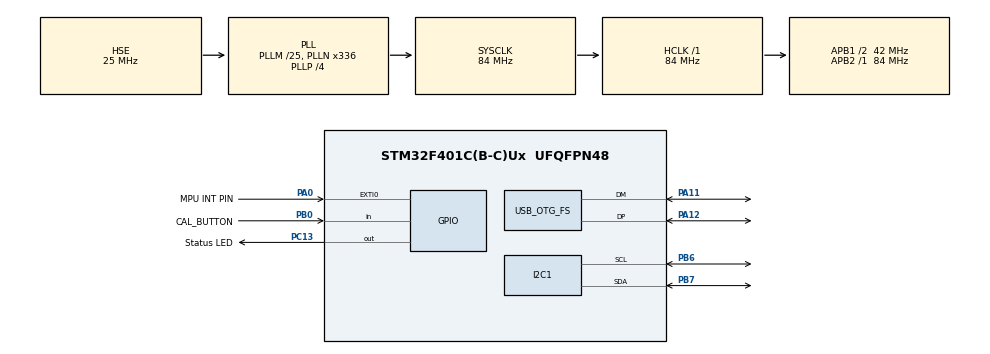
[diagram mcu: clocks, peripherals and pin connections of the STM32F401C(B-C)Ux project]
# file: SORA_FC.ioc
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Dma.I2C1_RX.0.Direction=DMA_PERIPH_TO_MEMORY
Dma.I2C1_RX.0.FIFOMode=DMA_FIFOMODE_DISABLE
Dma.I2C1_RX.0.Instance=DMA1_Stream0
Dma.I2C1_RX.0.MemDataAlignment=DMA_MDATAALIGN_BYTE
Dma.I2C1_RX.0.MemInc=DMA_MINC_ENABLE
Dma.I2C1_RX.0.Mode=DMA_NORMAL
Dma.I2C1_RX.0.PeriphDataAlignment=DMA_PDATAALIGN_BYTE
Dma.I2C1_RX.0.PeriphInc=DMA_PINC_DISABLE
Dma.I2C1_RX.0.Priority=DMA_PRIORITY_HIGH
Dma.I2C1_TX.1.Direction=DMA_MEMORY_TO_PERIPH
Dma.I2C1_TX.1.FIFOMode=DMA_FIFOMODE_DISABLE
Dma.I2C1_TX.1.Instance=DMA1_Stream6
Dma.I2C1_TX.1.MemDataAlignment=DMA_MDATAALIGN_BYTE
Dma.I2C1_TX.1.MemInc=DMA_MINC_ENABLE
Dma.I2C1_TX.1.Mode=DMA_NORMAL
Dma.I2C1_TX.1.PeriphDataAlignment=DMA_PDATAALIGN_BYTE
Dma.I2C1_TX.1.PeriphInc=DMA_PINC_DISABLE
Dma.I2C1_TX.1.Priority=DMA_PRIORITY_LOW
Dma.Request0=I2C1_RX
Dma.Request1=I2C1_TX
I2C1.I2C_Mode=I2C_Fast
Mcu.Family=STM32F4
Mcu.Name=STM32F401C(B-C)Ux
Mcu.Package=UFQFPN48
NVIC.DMA1_Stream0_IRQn=true\:0\:0\:false\:false\:true\:false\:true\:true
NVIC.DMA1_Stream6_IRQn=true\:0\:0\:false\:false\:true\:false\:true\:true
NVIC.EXTI0_IRQn=true\:0\:0\:false\:false\:true\:true\:true\:true
NVIC.I2C1_ER_IRQn=true\:0\:0\:false\:false\:true\:true\:true\:true
NVIC.I2C1_EV_IRQn=true\:0\:0\:false\:false\:true\:true\:true\:true
NVIC.OTG_FS_IRQn=true\:0\:0\:false\:false\:true\:false\:true\:true
NVIC.PriorityGroup=NVIC_PRIORITYGROUP_4
PA0-WKUP.GPIO_Label=MPU INT PIN
PA0-WKUP.Signal=GPXTI0
PA11.Mode=Device_Only
PA11.Signal=USB_OTG_FS_DM
PA12.Mode=Device_Only
PA12.Signal=USB_OTG_FS_DP
PB0.GPIO_Label=CAL_BUTTON
PB0.GPIO_PuPd=GPIO_PULLUP
PB0.Signal=GPIO_Input
PB6.Mode=I2C
PB6.Signal=I2C1_SCL
PB7.Mode=I2C
PB7.Signal=I2C1_SDA
PC13-ANTI_TAMP.GPIO_Label=Status LED
PC13-ANTI_TAMP.PinState=GPIO_PIN_SET
PC13-ANTI_TAMP.Signal=GPIO_Output
PH0\ -\ OSC_IN.Mode=HSE-External-Oscillator
PH0\ -\ OSC_IN.Signal=RCC_OSC_IN
PH1\ -\ OSC_OUT.Mode=HSE-External-Oscillator
PH1\ -\ OSC_OUT.Signal=RCC_OSC_OUT
ProjectManager.HeapSize=0x200
ProjectManager.StackSize=0x1000
ProjectManager.TargetToolchain=STM32CubeIDE
RCC.48MHZClocksFreq_Value=48000000
RCC.AHBFreq_Value=84000000
RCC.APB1CLKDivider=RCC_HCLK_DIV2
RCC.APB1Freq_Value=42000000
RCC.APB1TimFreq_Value=84000000
RCC.APB2Freq_Value=84000000
RCC.APB2TimFreq_Value=84000000
RCC.CortexFreq_Value=84000000
RCC.HCLKFreq_Value=84000000
RCC.HSE_VALUE=25000000
RCC.HSI_VALUE=16000000
RCC.LSE_VALUE=32768
RCC.PLLM=25
RCC.PLLN=336
RCC.PLLP=RCC_PLLP_DIV4
RCC.PLLQ=7
RCC.SYSCLKFreq_VALUE=84000000
RCC.SYSCLKSource=RCC_SYSCLKSOURCE_PLLCLK
RCC.VCOOutputFreq_Value=336000000
USB_DEVICE.CLASS_NAME_FS=CDC
USB_DEVICE.VirtualMode=Cdc
USB_DEVICE.VirtualModeFS=Cdc_FS
USB_OTG_FS.VirtualMode=Device_Only
VP_USB_DEVICE_VS_USB_DEVICE_CDC_FS.Mode=CDC_FS
board=custom

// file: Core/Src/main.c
/* USER CODE BEGIN Header */
/**
  ******************************************************************************
  * @file           : main.c
  * @brief          : Main program body
  ******************************************************************************
  * @attention
  *
  * Copyright (c) 2026 STMicroelectronics.
  * All rights reserved.
  *
  * This software is licensed under terms that can be found in the LICENSE file
  * in the root directory of this software component.
  * If no LICENSE file comes with this software, it is provided AS-IS.
  *
  ******************************************************************************
  */
/* USER CODE END Header */
#include "main.h"
#include "dma.h"
#include "i2c.h"
#include "usb_device.h"
#include "gpio.h"

/* USER CODE BEGIN Includes */
#include "mpu6050.h"
#include "imu_calibration.h"
#include "usb_telemetry.h"
#include "mekf.h"
#include "motor_mixer.h"
#include "config_store.h"
#include "usb_command.h"
#include <stdio.h>
#include <string.h>

/* USER CODE END Includes */

/* USER CODE BEGIN PTD */
typedef enum
{
    CONFIG_SOURCE_NONE = 0,      /* not calibrated yet                    */
    CONFIG_SOURCE_FLASH,         /* loaded from flash at boot             */
    CONFIG_SOURCE_CALIBRATED     /* calibrated in this session            */
} ConfigSource_t;

/* USER CODE END PTD */

/* USER CODE BEGIN PD */
#define CAL_BUTTON_PORT GPIOB
#define CAL_BUTTON_PIN  GPIO_PIN_0

/* Samples further apart than this are treated as a data gap (seconds). */
#define ATTITUDE_MAX_DT_S   (0.1f)

/* Compute the motor mixer from the attitude estimate (1) or hold it off (0).
 * The mixer output is only calculated and telemetered; nothing here drives
 * the motors. */
#define MIXER_ENABLED       (1)

/* Boot with stored data: average this much live accelerometer data to level
 * the attitude filter before it starts. */
#define BOOT_AVG_MIN_MS       (200U)
#define BOOT_AVG_MIN_SAMPLES  (20U)

/* USER CODE END PD */

/* USER CODE BEGIN PV */
MPU6050_Handle_t hmpu;

volatile uint8_t mpu_drdy_flag = 0;

MPU6050_RawData_t mpu_raw;
MPU6050_Data_t mpu_data;       // Raw parsed measurements
MPU6050_Data_t mpu_corrected;  // Calibrated measurements

IMU_Calibration_t imu_cal;
IMU_CalibrationResult_t imu_cal_result;

float gyro_corrected_dps[3];
float accel_corrected_g[3];

uint8_t imu_calibration_ready = 0;

static uint8_t button_previous = 1;
static uint8_t button_stable = 1;
static uint32_t button_last_change = 0;

static uint8_t next_face = 0;
static uint8_t selected_face = 0;

/* Attitude estimation + motor mixing */
MEKF_t ekf;
MotorMixer_t mixer;
Telemetry_Data_t telemetry;

/* Persistent configuration / calibration sequencing */
static ConfigSource_t config_source = CONFIG_SOURCE_NONE;
static float    mekf_bias_dps[3];            /* residual gyro bias (persisted) */
static uint8_t  save_after_mekf_cal = 0;     /* capture bias + save when MEKF done */
static uint8_t  mekf_cal_bias_only = 0;
static uint8_t  boot_avg_pending = 0;
static uint32_t boot_avg_count = 0;
static uint32_t boot_avg_start_ms = 0;
static float    boot_avg_sum[3];

static uint8_t  att_timebase_valid = 0;
static uint32_t att_last_cycle = 0;
static uint32_t att_last_tick = 0;

/*
 * Sensor frame -> body frame (FRD: x forward, y right, z down).
 * body = SENSOR_TO_BODY * sensor.
 * Default: sensor x forward, y left, z up (accelerometer reads +1 g on Z
 * when level), which is diag(1,-1,-1). CHANGE THIS to match how the board
 * is mounted in the airframe.
 */
static const float SENSOR_TO_BODY[3][3] =
{
    {  1.0f,  0.0f,  0.0f },
    {  0.0f, -1.0f,  0.0f },
    {  0.0f,  0.0f, -1.0f }
};

/* USER CODE END PV */

void SystemClock_Config(void);
/* USER CODE BEGIN PFP */
static void StatusLED_Update(void);
static void CalibrationButton_Update(void);
static void SensorToBody(const float s[3], float b[3]);
static void Attitude_StartTimebase(void);
static void Config_ApplyValues(const Config_Payload_t *p);
static bool Config_Save(void);
static bool Calibration_IsBusy(void);
static bool Calibration_StartFull(void);
static bool Calibration_StartBias(void);
static void Calibration_OnImuComplete(void);
static void Calibration_OnMekfComplete(void);
static void Attitude_BootAverage(const float accel_g[3]);
static bool Hook_Save(void);
static bool Hook_Load(void);
static bool Hook_Clear(void);
static void Hook_Reboot(void);
static void Hook_ParamChanged(const USB_Param_t *param);
static int  Hook_FormatStatus(char *buf, size_t size);
static void Attitude_Update(const float gyro_dps[3], const float accel_g[3]);
static void Telemetry_Fill(uint32_t now);
/* USER CODE END PFP */

/* USER CODE BEGIN 0 */
void HAL_I2C_MemRxCpltCallback(I2C_HandleTypeDef *hi2c) {
    if (hi2c == hmpu.hi2c) {
        MPU6050_RxCompleteCallback(&hmpu);
    }
}

void HAL_I2C_ErrorCallback(I2C_HandleTypeDef *hi2c) {
    if (hi2c == hmpu.hi2c) {
        MPU6050_ErrorCallback(&hmpu);
    }
}

void HAL_GPIO_EXTI_Callback(uint16_t GPIO_Pin) {
    if (GPIO_Pin == GPIO_PIN_0) {
        mpu_drdy_flag = 1;
    }
}
/* USER CODE END 0 */

int main(void)
{

  /* MCU Configuration--------------------------------------------------------*/

  /* Reset of all peripherals, Initializes the Flash interface and the Systick. */
  HAL_Init();

  /* Configure the system clock */
  SystemClock_Config();

  /* Initialize all configured peripherals */
  MX_GPIO_Init();
  MX_DMA_Init();
  MX_I2C1_Init();
  MX_USB_DEVICE_Init();
  /* USER CODE BEGIN 2 */
  if (MPU6050_Init(&hmpu, &hi2c1, MPU6050_ADDR_LOW) != HAL_OK) {
      Error_Handler();
  }
  IMU_Calibration_Init(
      &imu_cal,
      IMU_CAL_DEFAULT_GYRO_SAMPLES,
      IMU_CAL_DEFAULT_ACCEL_SAMPLES,
      IMU_CAL_GRAVITY_G
  );

  USB_Telemetry_Init();

  /* Free-running cycle counter used for the filter's dt. */
  CoreDebug->DEMCR |= CoreDebug_DEMCR_TRCENA_Msk;
  DWT->CYCCNT = 0U;
  DWT->CTRL |= DWT_CTRL_CYCCNTENA_Msk;

  /* Defaults from dash.py; tune on hardware. */
  MEKF_Init(&ekf, NULL);
  MotorMixer_Init(&mixer, NULL);

  /* Command interface (parameter table points at the live objects). */
  {
      const USB_Command_Bindings_t bindings =
      {
          .imu_result    = &imu_cal_result,
          .mekf_cfg      = &ekf.cfg,
          .mekf_bias_dps = mekf_bias_dps,
          .mixer_cfg     = &mixer.cfg,
          .hooks =
          {
              .start_full_calibration = Calibration_StartFull,
              .start_bias_calibration = Calibration_StartBias,
              .save                   = Hook_Save,
              .load                   = Hook_Load,
              .clear                  = Hook_Clear,
              .reboot                 = Hook_Reboot,
              .busy                   = Calibration_IsBusy,
              .param_changed          = Hook_ParamChanged,
              .format_status          = Hook_FormatStatus
          }
      };

      USB_Command_Init(&bindings);
  }

  /*
   * Stored calibration found -> use it (no six-face procedure).
   * Otherwise run the full calibration with the board stationary.
   */
  {
      Config_Payload_t stored;

      if (ConfigStore_Load(&stored) &&
          IMU_Calibration_LoadResult(&imu_cal, &stored.imu))
      {
          Config_ApplyValues(&stored);
          imu_calibration_ready = 1;
          config_source = CONFIG_SOURCE_FLASH;
          boot_avg_pending = 1;
          boot_avg_count = 0;
          USB_Command_Notify("CFG,LOADED,using stored calibration; send CAL FULL to recalibrate");
      }
      else
      {
          /* Start after sensor warm-up, with the board stationary. */
          IMU_Calibration_Start(&imu_cal);
          USB_Command_Notify("CFG,EMPTY,no stored calibration; starting full calibration");
      }
  }
  /* USER CODE END 2 */

  /* Infinite loop */
  /* USER CODE BEGIN WHILE */

  static uint32_t last_telemetry_ms = 0;

  while (1)
  {
      /* MPU6050 data-ready interrupt */
      if (mpu_drdy_flag && !hmpu.transfer_busy)
      {
          mpu_drdy_flag = 0;

          if (MPU6050_Read_DMA(&hmpu) != HAL_OK)
          {
              // Handle acquisition start failure.
          }
      }

      /* Process completed DMA transfer */
      if (hmpu.data_ready)
      {
          hmpu.data_ready = 0;

          MPU6050_ParseData(&hmpu, &mpu_raw, &mpu_data);

          /* Calibration phase */
          if (!imu_calibration_ready)
          {
              bool calibration_event = IMU_Calibration_Update(
                  &imu_cal,
                  mpu_data.gyro_x_dps,
                  mpu_data.gyro_y_dps,
                  mpu_data.gyro_z_dps,
                  mpu_data.accel_x_g,
                  mpu_data.accel_y_g,
                  mpu_data.accel_z_g
              );

              if (calibration_event &&
                  IMU_Calibration_GetStatus(&imu_cal) ==
                  IMU_CAL_STATUS_COMPLETE)
              {
                  if (IMU_Calibration_GetResult(
                          &imu_cal,
                          &imu_cal_result))
                  {
                      imu_calibration_ready = 1;
                      Calibration_OnImuComplete();
                  }
              }
          }

          /* Prepare corrected measurement object */
          if (imu_calibration_ready)
          {
              const float gyro_raw[3] =
              {
                  mpu_data.gyro_x_dps,
                  mpu_data.gyro_y_dps,
                  mpu_data.gyro_z_dps
              };

              const float accel_raw[3] =
              {
                  mpu_data.accel_x_g,
                  mpu_data.accel_y_g,
                  mpu_data.accel_z_g
              };

              IMU_Calibration_Apply(
                  &imu_cal_result,
                  gyro_raw,
                  accel_raw,
                  gyro_corrected_dps,
                  accel_corrected_g
              );

              // Copy the original measurement structure.
              // Temperature and other fields remain unchanged.
              mpu_corrected = mpu_data;

              // Replace sensor measurements with calibrated values.
              mpu_corrected.gyro_x_dps = gyro_corrected_dps[0];
              mpu_corrected.gyro_y_dps = gyro_corrected_dps[1];
              mpu_corrected.gyro_z_dps = gyro_corrected_dps[2];

              mpu_corrected.accel_x_g = accel_corrected_g[0];
              mpu_corrected.accel_y_g = accel_corrected_g[1];
              mpu_corrected.accel_z_g = accel_corrected_g[2];

              /* Attitude estimate and motor response for this sample */
              Attitude_Update(gyro_corrected_dps, accel_corrected_g);
          }

          /* Send corrected IMU data at configured telemetry rate */
          uint32_t now = HAL_GetTick();

          if (imu_calibration_ready &&
              (uint32_t)(now - last_telemetry_ms) >=
              TELEMETRY_INTERVAL_MS)
          {
              last_telemetry_ms = now;

              Telemetry_Fill(now);
              USB_Telemetry_Send(&telemetry);
          }
      }

      /* Button handling must run independently of DMA completion */
      CalibrationButton_Update();

      /* USB command interface (parse commands, send queued replies) */
      USB_Command_Process();

      /* Calibration status LED */
      StatusLED_Update();

      /* Calibration instructions over USB */
      IMU_CalibrationStage_t stage =
          IMU_Calibration_GetStage(&imu_cal);

      uint8_t face_index =
          (stage == IMU_CAL_STAGE_ACCEL_FACE)
          ? selected_face
          : next_face;

      USB_Telemetry_SendCalibrationStatus(
          IMU_Calibration_GetStatus(&imu_cal),
          stage,
          face_index
      );

    /* USER CODE END WHILE */

  }
}

void SystemClock_Config(void)
{
  RCC_OscInitTypeDef RCC_OscInitStruct = {0};
  RCC_ClkInitTypeDef RCC_ClkInitStruct = {0};

  /** Configure the main internal regulator output voltage
  */
  __HAL_RCC_PWR_CLK_ENABLE();
  __HAL_PWR_VOLTAGESCALING_CONFIG(PWR_REGULATOR_VOLTAGE_SCALE2);

  /** Initializes the RCC Oscillators according to the specified parameters
  * in the RCC_OscInitTypeDef structure.
  */
  RCC_OscInitStruct.OscillatorType = RCC_OSCILLATORTYPE_HSE;
  RCC_OscInitStruct.HSEState = RCC_HSE_ON;
  RCC_OscInitStruct.PLL.PLLState = RCC_PLL_ON;
  RCC_OscInitStruct.PLL.PLLSource = RCC_PLLSOURCE_HSE;
  RCC_OscInitStruct.PLL.PLLM = 25;
  RCC_OscInitStruct.PLL.PLLN = 336;
  RCC_OscInitStruct.PLL.PLLP = RCC_PLLP_DIV4;
  RCC_OscInitStruct.PLL.PLLQ = 7;
  if (HAL_RCC_OscConfig(&RCC_OscInitStruct) != HAL_OK)
  {
    Error_Handler();
  }

  /** Initializes the CPU, AHB and APB buses clocks
  */
  RCC_ClkInitStruct.ClockType = RCC_CLOCKTYPE_HCLK|RCC_CLOCKTYPE_SYSCLK
                              |RCC_CLOCKTYPE_PCLK1|RCC_CLOCKTYPE_PCLK2;
  RCC_ClkInitStruct.SYSCLKSource = RCC_SYSCLKSOURCE_PLLCLK;
  RCC_ClkInitStruct.AHBCLKDivider = RCC_SYSCLK_DIV1;
  RCC_ClkInitStruct.APB1CLKDivider = RCC_HCLK_DIV2;
  RCC_ClkInitStruct.APB2CLKDivider = RCC_HCLK_DIV1;

  if (HAL_RCC_ClockConfig(&RCC_ClkInitStruct, FLASH_LATENCY_2) != HAL_OK)
  {
    Error_Handler();
  }
}

/* USER CODE BEGIN 4 */

static void SensorToBody(const float s[3], float b[3])
{
    for (uint8_t i = 0U; i < 3U; i++)
    {
        b[i] = SENSOR_TO_BODY[i][0] * s[0] +
               SENSOR_TO_BODY[i][1] * s[1] +
               SENSOR_TO_BODY[i][2] * s[2];
    }
}

static void Attitude_StartTimebase(void)
{
    att_timebase_valid = 0;
}

/* ------------------------------------------------------------------------ */
/* Persistent configuration                                                 */
/* ------------------------------------------------------------------------ */

static void Config_Gather(Config_Payload_t *p)
{
    memset(p, 0, sizeof(*p));

    p->imu = imu_cal_result;
    p->mekf = ekf.cfg;
    p->mixer = mixer.cfg;
    memcpy(p->mekf_bias_dps, mekf_bias_dps, sizeof(mekf_bias_dps));
}

/* Push stored values into the live objects (no state machine changes). */
static void Config_ApplyValues(const Config_Payload_t *p)
{
    float bg[3];

    imu_cal_result = p->imu;
    MEKF_SetConfig(&ekf, &p->mekf);
    MotorMixer_SetConfig(&mixer, &p->mixer);
    memcpy(mekf_bias_dps, p->mekf_bias_dps, sizeof(mekf_bias_dps));

    for (uint8_t i = 0U; i < 3U; i++)
        bg[i] = mekf_bias_dps[i] * MEKF_DEG_TO_RAD;

    MEKF_SetGyroBias(&ekf, bg);
}

static bool Config_Save(void)
{
    Config_Payload_t p;
    ConfigStore_Info_t info;
    char msg[64];

    Config_Gather(&p);

    if (!ConfigStore_Save(&p))
    {
        USB_Command_Notify("ERR,SAVE_FAILED,flash write failed or storage unavailable");
        return false;
    }

    USB_Command_ClearDirty();
    ConfigStore_GetInfo(&info);
    snprintf(msg, sizeof(msg), "CFG,SAVED,seq=%lu", (unsigned long)info.sequence);
    USB_Command_Notify(msg);

    return true;
}

/* ------------------------------------------------------------------------ */
/* Calibration sequencing                                                   */
/*                                                                          */
/*  CAL FULL / first boot:  IMU six-face calibration (button)               */
/*                          -> MEKF stationary calibration (bias + level)   */
/*                          -> bias captured, everything saved to flash     */
/*  CAL BIAS:               MEKF bias-only calibration -> saved             */
/*  Boot with stored data:  average ~0.2 s of live accel to level the       */
/*                          filter, start with the stored bias              */
/* ------------------------------------------------------------------------ */

static bool Calibration_IsBusy(void)
{
    return (!imu_calibration_ready) ||
           (IMU_Calibration_GetStatus(&imu_cal) == IMU_CAL_STATUS_COLLECTING) ||
           save_after_mekf_cal ||
           boot_avg_pending;
}

static bool Calibration_StartFull(void)
{
    imu_calibration_ready = 0;
    boot_avg_pending = 0;
    save_after_mekf_cal = 0;
    mekf_cal_bias_only = 0;
    next_face = 0;
    selected_face = 0;
    config_source = CONFIG_SOURCE_NONE;

    IMU_Calibration_Init(&imu_cal,
                         IMU_CAL_DEFAULT_GYRO_SAMPLES,
                         IMU_CAL_DEFAULT_ACCEL_SAMPLES,
                         IMU_CAL_GRAVITY_G);
    IMU_Calibration_Start(&imu_cal);

    MotorMixer_Reset(&mixer);
    return true;
}

static bool Calibration_StartBias(void)
{
    if (!imu_calibration_ready || boot_avg_pending ||
        IMU_Calibration_GetStatus(&imu_cal) != IMU_CAL_STATUS_COMPLETE)
    {
        return false;
    }

    mekf_cal_bias_only = 1;
    save_after_mekf_cal = 1;

    MEKF_RecalibrateBias(&ekf);
    MotorMixer_Reset(&mixer);
    Attitude_StartTimebase();
    return true;
}

/* IMU six-face calibration finished: now level + bias-calibrate the filter. */
static void Calibration_OnImuComplete(void)
{
    config_source = CONFIG_SOURCE_CALIBRATED;
    mekf_cal_bias_only = 0;
    save_after_mekf_cal = 1;
    memset(mekf_bias_dps, 0, sizeof(mekf_bias_dps));

    MEKF_Reinitialize(&ekf);
    MotorMixer_Reset(&mixer);
    MotorMixer_SetYawHold(&mixer, 0.0f);
    Attitude_StartTimebase();

    USB_Command_Notify("CAL,MEKF,Place the board level and keep it still");
}

/* The filter finished its stationary calibration: capture bias, save. */
static void Calibration_OnMekfComplete(void)
{
    const bool with_motion =
        (MEKF_GetEvent(&ekf) == MEKF_EVENT_RUNNING_CALIBRATED_WITH_MOTION);

    save_after_mekf_cal = 0;

    if (mekf_cal_bias_only && with_motion)
    {
        float old_bg[3];

        for (uint8_t i = 0U; i < 3U; i++)
            old_bg[i] = mekf_bias_dps[i] * MEKF_DEG_TO_RAD;

        MEKF_SetGyroBias(&ekf, old_bg);
        USB_Command_Notify("ERR,CAL_BIAS,motion detected; previous bias kept. Retry with the board still");
        return;
    }

    float bg[3];

    MEKF_GetGyroBias(&ekf, bg);

    for (uint8_t i = 0U; i < 3U; i++)
        mekf_bias_dps[i] = bg[i] * MEKF_RAD_TO_DEG;

    if (with_motion)
        USB_Command_Notify("WARN,CAL,motion during the bias estimate; run CAL BIAS when stationary");

    (void)Config_Save();
}

/* Boot with stored data: level the filter from live accelerometer data. */
static void Attitude_BootAverage(const float accel_g[3])
{
    float accel_body[3];
    float mean[3];
    float bias_rads[3];

    SensorToBody(accel_g, accel_body);

    const uint32_t now = HAL_GetTick();

    if (boot_avg_count == 0U)
    {
        boot_avg_start_ms = now;
        memset(boot_avg_sum, 0, sizeof(boot_avg_sum));
    }

    for (uint8_t i = 0U; i < 3U; i++)
        boot_avg_sum[i] += accel_body[i];

    boot_avg_count++;

    if ((uint32_t)(now - boot_avg_start_ms) < BOOT_AVG_MIN_MS ||
        boot_avg_count < BOOT_AVG_MIN_SAMPLES)
    {
        return;
    }

    for (uint8_t i = 0U; i < 3U; i++)
    {
        mean[i] = boot_avg_sum[i] / (float)boot_avg_count;
        bias_rads[i] = mekf_bias_dps[i] * MEKF_DEG_TO_RAD;
    }

    boot_avg_pending = 0;

    if (!MEKF_StartWithKnownBias(&ekf, bias_rads, mean))
    {
        /* Fall back to the filter's own stationary calibration. */
        MEKF_Reinitialize(&ekf);
    }

    MotorMixer_Reset(&mixer);
    MotorMixer_SetYawHold(&mixer, 0.0f);
    Attitude_StartTimebase();
}

/* ------------------------------------------------------------------------ */
/* Command hooks                                                            */
/* ------------------------------------------------------------------------ */

static bool Hook_Save(void)
{
    return Config_Save();
}

static bool Hook_Load(void)
{
    Config_Payload_t p;

    if (!ConfigStore_Load(&p))
        return false;

    Config_ApplyValues(&p);
    return true;
}

static bool Hook_Clear(void)
{
    return ConfigStore_Erase();
}

static void Hook_Reboot(void)
{
    HAL_Delay(50U);   /* let the reply leave the USB FIFO */
    NVIC_SystemReset();
}

static void Hook_ParamChanged(const USB_Param_t *param)
{
    if (param->apply == USB_PARAM_APPLY_MEKF_BIAS)
    {
        float bg[3];

        for (uint8_t i = 0U; i < 3U; i++)
            bg[i] = mekf_bias_dps[i] * MEKF_DEG_TO_RAD;

        MEKF_SetGyroBias(&ekf, bg);
    }
}

static int Hook_FormatStatus(char *buf, size_t size)
{
    static const char *const status_names[] =
        { "idle", "collecting", "complete", "error" };
    static const char *const source_names[] =
        { "none", "flash", "calibrated" };

    ConfigStore_Info_t info;
    const unsigned int st = (unsigned int)IMU_Calibration_GetStatus(&imu_cal);

    ConfigStore_GetInfo(&info);

    return snprintf(buf, size,
        "STATUS,imu_cal=%s,source=%s,mekf=%s,dirty=%u,store=%s,seq=%lu,slots=%lu/%lu",
        (st < 4U) ? status_names[st] : "?",
        source_names[(unsigned int)config_source],
        MEKF_IsRunning(&ekf) ? "running" : "calibrating",
        USB_Command_IsDirty() ? 1U : 0U,
        !info.available ? "unavailable" : (info.valid ? "ok" : "empty"),
        (unsigned long)info.sequence,
        (unsigned long)info.slots_used,
        (unsigned long)info.slot_count);
}

/*
 * Run the MEKF and the motor mixer on one calibrated sample.
 * Inputs are in the sensor frame: gyro in deg/s, accel in g.
 */
static void Attitude_Update(const float gyro_dps[3], const float accel_g[3])
{
    /* Boot with stored calibration: level the filter first. */
    if (boot_avg_pending)
    {
        Attitude_BootAverage(accel_g);
        return;
    }

    const uint32_t cycles = DWT->CYCCNT;
    const uint32_t tick = HAL_GetTick();

    if (!att_timebase_valid)
    {
        att_last_cycle = cycles;
        att_last_tick = tick;
        att_timebase_valid = 1;
        return;
    }

    const float dt_s =
        (float)(uint32_t)(cycles - att_last_cycle) / (float)SystemCoreClock;
    const float tick_gap_s =
        (float)(uint32_t)(tick - att_last_tick) * 0.001f;

    att_last_cycle = cycles;
    att_last_tick = tick;

    /* Data gap: add process noise instead of propagating on a stale dt. */
    if (dt_s > ATTITUDE_MAX_DT_S || tick_gap_s > ATTITUDE_MAX_DT_S)
    {
        MEKF_InflateCovariance(&ekf,
                               (dt_s > tick_gap_s) ? dt_s : tick_gap_s);
        MotorMixer_Reset(&mixer);
        return;
    }

    if (dt_s <= 0.0f)
        return;

    float gyro_sensor_rads[3];
    float gyro_body[3];
    float accel_body[3];

    for (uint8_t i = 0U; i < 3U; i++)
        gyro_sensor_rads[i] = gyro_dps[i] * MEKF_DEG_TO_RAD;

    SensorToBody(gyro_sensor_rads, gyro_body);
    SensorToBody(accel_g, accel_body);

    (void)MEKF_Process(&ekf, gyro_body, accel_body, dt_s);

    /* Stationary MEKF calibration finished: store bias + configuration. */
    if (save_after_mekf_cal && MEKF_IsRunning(&ekf))
        Calibration_OnMekfComplete();

    /* Body rates with the filter's residual bias removed. */
    float omega[3];

    for (uint8_t i = 0U; i < 3U; i++)
        omega[i] = gyro_body[i] - ekf.bg[i];

    (void)MotorMixer_Update(&mixer,
                            ekf.q,
                            omega,
                            dt_s,
                            (MIXER_ENABLED != 0),
                            MEKF_IsRunning(&ekf));
}

static void Telemetry_Fill(uint32_t now)
{
    telemetry.timestamp_ms = now;
    telemetry.imu = mpu_corrected;

    telemetry.filter_state = MEKF_GetState(&ekf);
    telemetry.filter_event = MEKF_GetEvent(&ekf);

    MEKF_GetQuaternion(&ekf, telemetry.q);
    MEKF_GetEuler(&ekf,
                  &telemetry.euler_rad[0],
                  &telemetry.euler_rad[1],
                  &telemetry.euler_rad[2]);
    MEKF_GetGyroBias(&ekf, telemetry.gyro_bias_rads);

    telemetry.motors = mixer.out;
}

static void StatusLED_Update(void)
{
    static uint32_t last_toggle = 0;
    static uint8_t led_state = 0;

    uint32_t now = HAL_GetTick();

    IMU_CalibrationStatus_t status =
        IMU_Calibration_GetStatus(&imu_cal);

    IMU_CalibrationStage_t stage =
        IMU_Calibration_GetStage(&imu_cal);

    uint32_t interval = 0;
    uint8_t waiting_for_face = 0;

    switch (status)
    {
        case IMU_CAL_STATUS_IDLE:
            led_state = 0;
            break;

        case IMU_CAL_STATUS_COMPLETE:
            led_state = 1;
            break;

        case IMU_CAL_STATUS_ERROR:
            interval = 100;
            break;

        case IMU_CAL_STATUS_COLLECTING:
            switch (stage)
            {
                case IMU_CAL_STAGE_STATIC:
                    interval = 250;
                    break;

                case IMU_CAL_STAGE_WAIT_ACCEL_FACE:
                    waiting_for_face = 1;
                    break;

                case IMU_CAL_STAGE_ACCEL_FACE:
                    interval = 100;
                    break;

                case IMU_CAL_STAGE_COMPLETE:
                    led_state = 1;
                    break;

                case IMU_CAL_STAGE_ERROR:
                    interval = 100;
                    break;

                default:
                    led_state = 0;
                    break;
            }
            break;

        default:
            led_state = 0;
            break;
    }

    if (waiting_for_face)
    {
        // Short ON pulse every 1 second.
        led_state = ((now % 1000U) < 100U);
    }
    else if (interval > 0)
    {
        if ((uint32_t)(now - last_toggle) >= interval)
        {
            last_toggle = now;
            led_state = !led_state;
        }
    }
    else
    {
        last_toggle = now;
    }

    // PC13 is active-low.
    HAL_GPIO_WritePin(
        GPIOC,
        GPIO_PIN_13,
        led_state ? GPIO_PIN_RESET : GPIO_PIN_SET
    );
}

static void CalibrationButton_Update(void)
{
    uint8_t current =
        HAL_GPIO_ReadPin(CAL_BUTTON_PORT, CAL_BUTTON_PIN);

    uint32_t now = HAL_GetTick();

    if (current != button_previous)
    {
        button_previous = current;
        button_last_change = now;
    }

    // 30 ms debounce
    if ((uint32_t)(now - button_last_change) >= 30)
    {
        if (current != button_stable)
        {
            button_stable = current;

            // Falling edge: button pressed
            if (button_stable == GPIO_PIN_RESET)
            {
                if (IMU_Calibration_GetStage(&imu_cal) ==
                    IMU_CAL_STAGE_WAIT_ACCEL_FACE)
                {

                	if (next_face < IMU_ACCEL_FACE_COUNT)
                	{
                	    if (IMU_Calibration_SetAccelFace(
                	            &imu_cal,
                	            (IMU_AccelCalibrationFace_t)next_face))
                	    {
                	        selected_face = next_face;
                	        next_face++;
                	    }
                	}
                }
            }
        }
    }
}

/* USER CODE END 4 */

void Error_Handler(void)
{
  __disable_irq();
  while (1)
  {
  }
}
